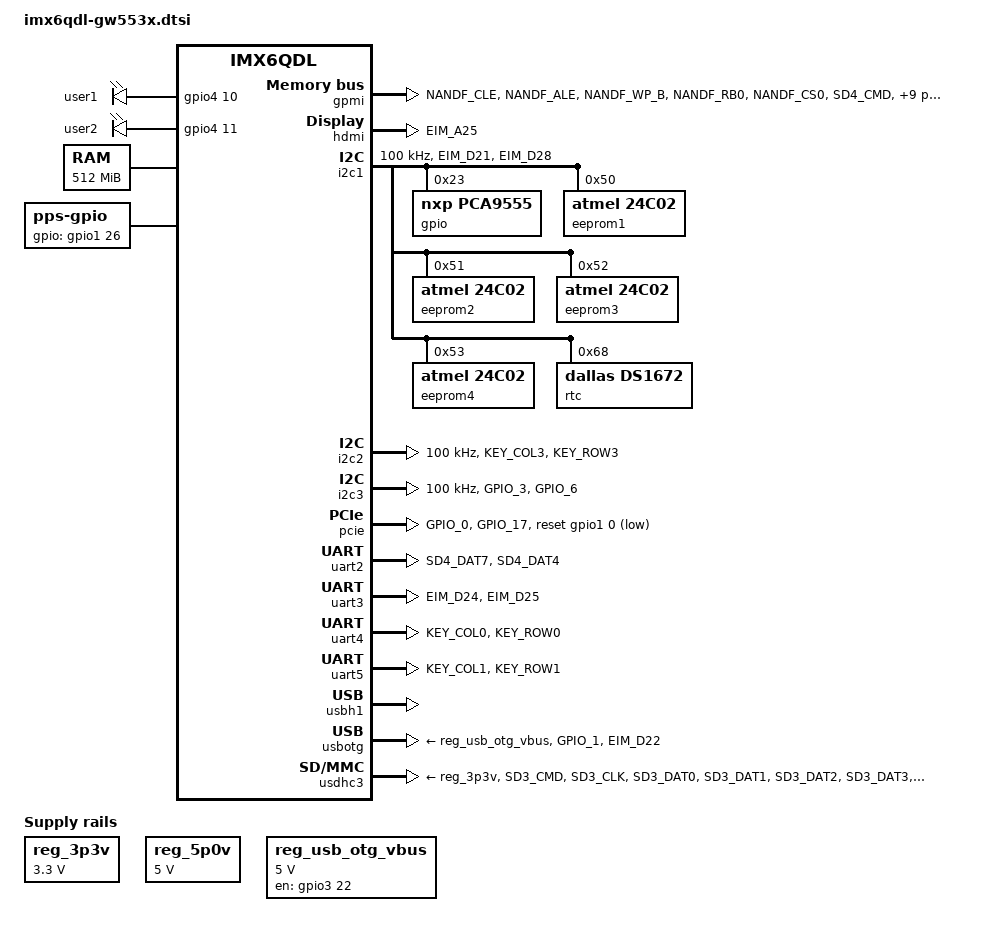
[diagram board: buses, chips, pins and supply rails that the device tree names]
/*
 * Copyright 2016 Gateworks Corporation
 *
 * This file is dual-licensed: you can use it either under the terms
 * of the GPL or the X11 license, at your option. Note that this dual
 * licensing only applies to this file, and not this project as a
 * whole.
 *
 *  a) This file is free software; you can redistribute it and/or
 *     modify it under the terms of the GNU General Public License as
 *     published by the Free Software Foundation; either version 2 of
 *     the License, or (at your option) any later version.
 *
 *     This file is distributed in the hope that it will be useful,
 *     but WITHOUT ANY WARRANTY; without even the implied warranty of
 *     MERCHANTABILITY or FITNESS FOR A PARTICULAR PURPOSE.  See the
 *     GNU General Public License for more details.
 *
 *     You should have received a copy of the GNU General Public
 *     License along with this file; if not, write to the Free
 *     Software Foundation, Inc., 51 Franklin St, Fifth Floor, Boston,
 *     MA 02110-1301 USA
 *
 * Or, alternatively,
 *
 *  b) Permission is hereby granted, free of charge, to any person
 *     obtaining a copy of this software and associated documentation
 *     files (the "Software"), to deal in the Software without
 *     restriction, including without limitation the rights to use,
 *     copy, modify, merge, publish, distribute, sublicense, and/or
 *     sell copies of the Software, and to permit persons to whom the
 *     Software is furnished to do so, subject to the following
 *     conditions:
 *
 *     The above copyright notice and this permission notice shall be
 *     included in all copies or substantial portions of the Software.
 *
 *     THE SOFTWARE IS PROVIDED "AS IS", WITHOUT WARRANTY OF ANY KIND,
 *     EXPRESS OR IMPLIED, INCLUDING BUT NOT LIMITED TO THE WARRANTIES
 *     OF MERCHANTABILITY, FITNESS FOR A PARTICULAR PURPOSE AND
 *     NONINFRINGEMENT. IN NO EVENT SHALL THE AUTHORS OR COPYRIGHT
 *     HOLDERS BE LIABLE FOR ANY CLAIM, DAMAGES OR OTHER LIABILITY,
 *     WHETHER IN AN ACTION OF CONTRACT, TORT OR OTHERWISE, ARISING
 *     FROM, OUT OF OR IN CONNECTION WITH THE SOFTWARE OR THE USE OR
 *     OTHER DEALINGS IN THE SOFTWARE.
 */

#include <dt-bindings/gpio/gpio.h>

/ {
	/* these are used by bootloader for disabling nodes */
	aliases {
		led0 = &led0;
		led1 = &led1;
		nand = &gpmi;
		usb0 = &usbh1;
		usb1 = &usbotg;
	};

	chosen {
		stdout-path = &uart2;
	};

	leds {
		compatible = "gpio-leds";
		pinctrl-names = "default";
		pinctrl-0 = <&pinctrl_gpio_leds>;

		led0: user1 {
			label = "user1";
			gpios = <&gpio4 10 GPIO_ACTIVE_HIGH>; /* MX6_PANLEDG */
			default-state = "on";
			linux,default-trigger = "heartbeat";
		};

		led1: user2 {
			label = "user2";
			gpios = <&gpio4 11 GPIO_ACTIVE_HIGH>; /* MX6_PANLEDR */
			default-state = "off";
		};
	};

	memory {
		reg = <0x10000000 0x20000000>;
	};

	pps {
		compatible = "pps-gpio";
		pinctrl-names = "default";
		pinctrl-0 = <&pinctrl_pps>;
		gpios = <&gpio1 26 GPIO_ACTIVE_HIGH>;
		status = "okay";
	};

	reg_3p3v: regulator-3p3v {
		compatible = "regulator-fixed";
		regulator-name = "3P0V";
		regulator-min-microvolt = <3300000>;
		regulator-max-microvolt = <3300000>;
		regulator-always-on;
	};

	reg_5p0v: regulator-5p0v {
		compatible = "regulator-fixed";
		regulator-name = "5P0V";
		regulator-min-microvolt = <5000000>;
		regulator-max-microvolt = <5000000>;
		regulator-always-on;
	};

	reg_usb_otg_vbus: regulator-usb-otg-vbus {
		compatible = "regulator-fixed";
		regulator-name = "usb_otg_vbus";
		regulator-min-microvolt = <5000000>;
		regulator-max-microvolt = <5000000>;
		gpio = <&gpio3 22 GPIO_ACTIVE_HIGH>;
		enable-active-high;
	};
};

&gpmi {
	pinctrl-names = "default";
	pinctrl-0 = <&pinctrl_gpmi_nand>;
	status = "okay";
};

&hdmi {
	pinctrl-names = "default";
	pinctrl-0 = <&pinctrl_hdmi>;
	ddc-i2c-bus = <&i2c3>;
	status = "okay";
};

&i2c1 {
	clock-frequency = <100000>;
	pinctrl-names = "default";
	pinctrl-0 = <&pinctrl_i2c1>;
	status = "okay";

	gpio: pca9555@23 {
		compatible = "nxp,pca9555";
		reg = <0x23>;
		gpio-controller;
		#gpio-cells = <2>;
	};

	eeprom1: eeprom@50 {
		compatible = "atmel,24c02";
		reg = <0x50>;
		pagesize = <16>;
	};

	eeprom2: eeprom@51 {
		compatible = "atmel,24c02";
		reg = <0x51>;
		pagesize = <16>;
	};

	eeprom3: eeprom@52 {
		compatible = "atmel,24c02";
		reg = <0x52>;
		pagesize = <16>;
	};

	eeprom4: eeprom@53 {
		compatible = "atmel,24c02";
		reg = <0x53>;
		pagesize = <16>;
	};

	rtc: ds1672@68 {
		compatible = "dallas,ds1672";
		reg = <0x68>;
	};
};

&i2c2 {
	clock-frequency = <100000>;
	pinctrl-names = "default";
	pinctrl-0 = <&pinctrl_i2c2>;
	status = "okay";
};

&i2c3 {
	clock-frequency = <100000>;
	pinctrl-names = "default";
	pinctrl-0 = <&pinctrl_i2c3>;
	status = "okay";
};

&pcie {
	pinctrl-names = "default";
	pinctrl-0 = <&pinctrl_pcie>;
	reset-gpio = <&gpio1 0 GPIO_ACTIVE_LOW>;
	status = "okay";
};

&pwm2 {
	pinctrl-names = "default";
	pinctrl-0 = <&pinctrl_pwm2>; /* MX6_DIO1 */
	status = "disabled";
};

&pwm3 {
	pinctrl-names = "default";
	pinctrl-0 = <&pinctrl_pwm3>; /* MX6_DIO2 */
	status = "disabled";
};

&pwm4 {
	pinctrl-names = "default";
	pinctrl-0 = <&pinctrl_pwm4>; /* MX6_DIO3 */
	status = "disabled";
};

&uart2 {
	pinctrl-names = "default";
	pinctrl-0 = <&pinctrl_uart2>;
	status = "okay";
};

&uart3 {
	pinctrl-names = "default";
	pinctrl-0 = <&pinctrl_uart3>;
	status = "okay";
};

&uart4 {
	pinctrl-names = "default";
	pinctrl-0 = <&pinctrl_uart4>;
	status = "okay";
};

&uart5 {
	pinctrl-names = "default";
	pinctrl-0 = <&pinctrl_uart5>;
	status = "okay";
};

&usbh1 {
	status = "okay";
};

&usbotg {
	vbus-supply = <&reg_usb_otg_vbus>;
	pinctrl-names = "default";
	pinctrl-0 = <&pinctrl_usbotg>;
	disable-over-current;
	status = "okay";
};

&usdhc3 {
	pinctrl-names = "default", "state_100mhz", "state_200mhz";
	pinctrl-0 = <&pinctrl_usdhc3>;
	pinctrl-1 = <&pinctrl_usdhc3_100mhz>;
	pinctrl-2 = <&pinctrl_usdhc3_200mhz>;
	cd-gpios = <&gpio7 0 GPIO_ACTIVE_LOW>;
	vmmc-supply = <&reg_3p3v>;
	status = "okay";
};

&wdog1 {
	pinctrl-names = "default";
	pinctrl-0 = <&pinctrl_wdog>;
	fsl,ext-reset-output;
};

&iomuxc {
	pinctrl_gpmi_nand: gpminandgrp {
		fsl,pins = <
			MX6QDL_PAD_NANDF_CLE__NAND_CLE		0xb0b1
			MX6QDL_PAD_NANDF_ALE__NAND_ALE		0xb0b1
			MX6QDL_PAD_NANDF_WP_B__NAND_WP_B	0xb0b1
			MX6QDL_PAD_NANDF_RB0__NAND_READY_B	0xb000
			MX6QDL_PAD_NANDF_CS0__NAND_CE0_B	0xb0b1
			MX6QDL_PAD_SD4_CMD__NAND_RE_B		0xb0b1
			MX6QDL_PAD_SD4_CLK__NAND_WE_B		0xb0b1
			MX6QDL_PAD_NANDF_D0__NAND_DATA00	0xb0b1
			MX6QDL_PAD_NANDF_D1__NAND_DATA01	0xb0b1
			MX6QDL_PAD_NANDF_D2__NAND_DATA02	0xb0b1
			MX6QDL_PAD_NANDF_D3__NAND_DATA03	0xb0b1
			MX6QDL_PAD_NANDF_D4__NAND_DATA04	0xb0b1
			MX6QDL_PAD_NANDF_D5__NAND_DATA05	0xb0b1
			MX6QDL_PAD_NANDF_D6__NAND_DATA06	0xb0b1
			MX6QDL_PAD_NANDF_D7__NAND_DATA07	0xb0b1
		>;
	};

	pinctrl_hdmi: hdmigrp {
		fsl,pins = <
			MX6QDL_PAD_EIM_A25__HDMI_TX_CEC_LINE	0x1f8b0
		>;
	};

	pinctrl_i2c1: i2c1grp {
		fsl,pins = <
			MX6QDL_PAD_EIM_D21__I2C1_SCL		0x4001b8b1
			MX6QDL_PAD_EIM_D28__I2C1_SDA		0x4001b8b1
		>;
	};

	pinctrl_i2c2: i2c2grp {
		fsl,pins = <
			MX6QDL_PAD_KEY_COL3__I2C2_SCL		0x4001b8b1
			MX6QDL_PAD_KEY_ROW3__I2C2_SDA		0x4001b8b1
		>;
	};

	pinctrl_i2c3: i2c3grp {
		fsl,pins = <
			MX6QDL_PAD_GPIO_3__I2C3_SCL		0x4001b8b1
			MX6QDL_PAD_GPIO_6__I2C3_SDA		0x4001b8b1
		>;
	};

	pinctrl_gpio_leds: gpioledsgrp {
		fsl,pins = <
			MX6QDL_PAD_KEY_COL2__GPIO4_IO10		0x1b0b0
			MX6QDL_PAD_KEY_ROW2__GPIO4_IO11		0x1b0b0
		>;
	};

	pinctrl_pcie: pciegrp {
		fsl,pins = <
			MX6QDL_PAD_GPIO_0__GPIO1_IO00		0x1b0b0
			MX6QDL_PAD_GPIO_17__GPIO7_IO12		0x4001b0b0 /* PCIESKT_WDIS# */
		>;
	};

	pinctrl_pps: ppsgrp {
		fsl,pins = <
			MX6QDL_PAD_ENET_RXD1__GPIO1_IO26	0x1b0b1
		>;
	};

	pinctrl_pwm2: pwm2grp {
		fsl,pins = <
			MX6QDL_PAD_SD1_DAT2__PWM2_OUT		0x1b0b1
		>;
	};

	pinctrl_pwm3: pwm3grp {
		fsl,pins = <
			MX6QDL_PAD_SD4_DAT1__PWM3_OUT		0x1b0b1
		>;
	};

	pinctrl_pwm4: pwm4grp {
		fsl,pins = <
			MX6QDL_PAD_SD1_CMD__PWM4_OUT		0x1b0b1
		>;
	};

	pinctrl_uart2: uart2grp {
		fsl,pins = <
			MX6QDL_PAD_SD4_DAT7__UART2_TX_DATA	0x1b0b1
			MX6QDL_PAD_SD4_DAT4__UART2_RX_DATA	0x1b0b1
		>;
	};

	pinctrl_uart3: uart3grp {
		fsl,pins = <
			MX6QDL_PAD_EIM_D24__UART3_TX_DATA	0x1b0b1
			MX6QDL_PAD_EIM_D25__UART3_RX_DATA	0x1b0b1
		>;
	};

	pinctrl_uart4: uart4grp {
		fsl,pins = <
			MX6QDL_PAD_KEY_COL0__UART4_TX_DATA	0x1b0b1
			MX6QDL_PAD_KEY_ROW0__UART4_RX_DATA	0x1b0b1
		>;
	};

	pinctrl_uart5: uart5grp {
		fsl,pins = <
			MX6QDL_PAD_KEY_COL1__UART5_TX_DATA	0x1b0b1
			MX6QDL_PAD_KEY_ROW1__UART5_RX_DATA	0x1b0b1
		>;
	};

	pinctrl_usbotg: usbotggrp {
		fsl,pins = <
			MX6QDL_PAD_GPIO_1__USB_OTG_ID		0x17059
			MX6QDL_PAD_EIM_D22__GPIO3_IO22		0x1b0b0 /* OTG_PWR_EN */
		>;
	};

	pinctrl_usdhc3: usdhc3grp {
		fsl,pins = <
			MX6QDL_PAD_SD3_CMD__SD3_CMD		0x17059
			MX6QDL_PAD_SD3_CLK__SD3_CLK		0x10059
			MX6QDL_PAD_SD3_DAT0__SD3_DATA0		0x17059
			MX6QDL_PAD_SD3_DAT1__SD3_DATA1		0x17059
			MX6QDL_PAD_SD3_DAT2__SD3_DATA2		0x17059
			MX6QDL_PAD_SD3_DAT3__SD3_DATA3		0x17059
			MX6QDL_PAD_SD3_DAT5__GPIO7_IO00		0x17059 /* CD */
			MX6QDL_PAD_NANDF_CS1__SD3_VSELECT	0x17059
		>;
	};

	pinctrl_usdhc3_100mhz: usdhc3grp100mhz {
		fsl,pins = <
			MX6QDL_PAD_SD3_CMD__SD3_CMD		0x170b9
			MX6QDL_PAD_SD3_CLK__SD3_CLK		0x100b9
			MX6QDL_PAD_SD3_DAT0__SD3_DATA0		0x170b9
			MX6QDL_PAD_SD3_DAT1__SD3_DATA1		0x170b9
			MX6QDL_PAD_SD3_DAT2__SD3_DATA2		0x170b9
			MX6QDL_PAD_SD3_DAT3__SD3_DATA3		0x170b9
			MX6QDL_PAD_SD3_DAT5__GPIO7_IO00		0x170b9 /* CD */
			MX6QDL_PAD_NANDF_CS1__SD3_VSELECT	0x170b9
		>;
	};

	pinctrl_usdhc3_200mhz: usdhc3grp200mhz {
		fsl,pins = <
			MX6QDL_PAD_SD3_CMD__SD3_CMD		0x170f9
			MX6QDL_PAD_SD3_CLK__SD3_CLK		0x100f9
			MX6QDL_PAD_SD3_DAT0__SD3_DATA0		0x170f9
			MX6QDL_PAD_SD3_DAT1__SD3_DATA1		0x170f9
			MX6QDL_PAD_SD3_DAT2__SD3_DATA2		0x170f9
			MX6QDL_PAD_SD3_DAT3__SD3_DATA3		0x170f9
			MX6QDL_PAD_SD3_DAT5__GPIO7_IO00		0x170f9 /* CD */
			MX6QDL_PAD_NANDF_CS1__SD3_VSELECT	0x170f9
		>;
	};

	pinctrl_wdog: wdoggrp {
		fsl,pins = <
			MX6QDL_PAD_DISP0_DAT8__WDOG1_B		0x1b0b0
		>;
	};
};
